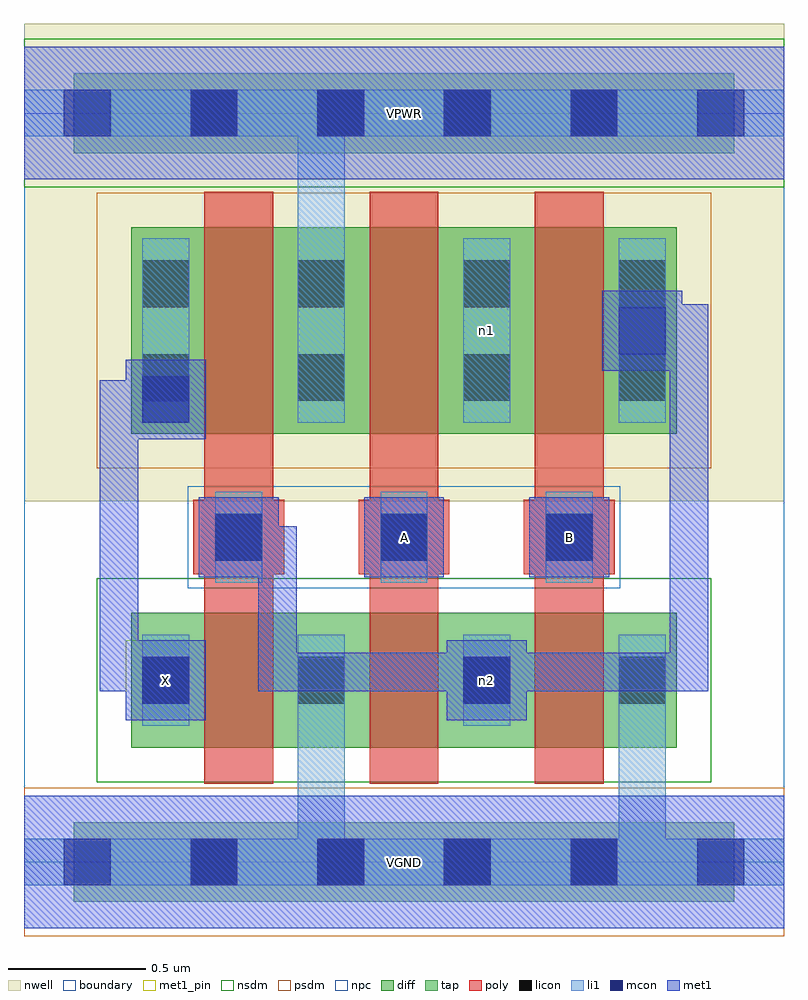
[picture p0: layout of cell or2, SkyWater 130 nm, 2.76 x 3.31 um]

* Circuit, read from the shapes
.subckt or2 A B VGND VPWR X n1 n2
XM1 VGND n2 X VGND sky130_fd_pr__nfet_01v8 w=0.49 l=0.25
XM2 n2 A VGND VGND sky130_fd_pr__nfet_01v8 w=0.49 l=0.25
XM3 VGND B n2 VGND sky130_fd_pr__nfet_01v8 w=0.49 l=0.25
XM4 VPWR n2 X VPWR sky130_fd_pr__pfet_01v8 w=0.75 l=0.25
XM5 n1 A VPWR VPWR sky130_fd_pr__pfet_01v8 w=0.75 l=0.25
XM6 n2 B n1 VPWR sky130_fd_pr__pfet_01v8 w=0.75 l=0.25
.ends

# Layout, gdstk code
import gdstk
lib = gdstk.Library(unit=1e-6, precision=1e-09)
def R(c, l, rs):  # rectangles x0, y0, x1, y1
    for r in rs: c.add(gdstk.rectangle(r[:2], r[2:], *l))
def A(c, l, x, y, w, h, nx, ny, dx, dy):  # array of equal rectangles
    R(c, l, [(x+i*dx, y+j*dy, x+i*dx+w, y+j*dy+h) for i in range(nx) for j in range(ny)])
nwell = (64, 20)
diff = (65, 20)
tap = (65, 44)
poly = (66, 20)
licon = (66, 44)
li1 = (67, 20)
mcon = (67, 44)
met1_pin = (68, 16)
met1 = (68, 20)
nsdm = (93, 44)
psdm = (94, 20)
npc = (95, 20)
boundary = (235, 4)

or2 = lib.new_cell('or2')
R(or2, nwell, [(0,1.31,2.76,3.045)])
R(or2, diff, [(0.39,0.415,2.37,0.905), (0.39,1.555,2.37,2.305)])
R(or2, tap, [(0.18,-0.145,2.58,0.145), (0.18,2.575,2.58,2.865)])
A(or2, poly, 0.655, 0.285, 0.25, 2.15, 3, 1, 0.6, 0)
A(or2, poly, 0.615, 1.045, 0.33, 0.27, 3, 1, 0.6, 0)
A(or2, licon, 0.605, -0.085, 0.17, 0.17, 4, 2, 0.46, 2.72)
A(or2, licon, 0.695, 1.095, 0.17, 0.17, 3, 1, 0.6, 0)
R(or2, licon, [(0.43,0.575,0.6,0.745), (0.995,0.575,1.165,0.745), (1.595,0.575,1.765,0.745), (2.16,0.575,2.33,0.745), (0.43,1.675,0.6,1.845), (0.995,1.675,1.165,1.845), (1.595,1.675,1.765,1.845), (2.16,1.675,2.33,1.845), (0.43,2.015,0.6,2.185), (0.995,2.015,1.165,2.185), (1.595,2.015,1.765,2.185), (2.16,2.015,2.33,2.185)])
A(or2, li1, 0.695, 1.015, 0.17, 0.33, 3, 1, 0.6, 0)
R(or2, li1, [(0,-0.085,2.76,0.085), (0.995,-0.085,1.165,0.825), (2.16,-0.085,2.33,0.825), (0.43,0.495,0.6,0.825), (0.995,0.495,1.165,0.825), (1.595,0.495,1.765,0.825), (2.16,0.495,2.33,0.825), (0.43,1.595,0.6,2.265), (0.995,1.595,1.165,2.265), (0.995,1.595,1.165,2.805), (1.595,1.595,1.765,2.265), (2.16,1.595,2.33,2.265), (0,2.635,2.76,2.805)])
A(or2, mcon, 0.145, -0.085, 0.17, 0.17, 6, 2, 0.46, 2.72)
A(or2, mcon, 0.695, 1.095, 0.17, 0.17, 3, 1, 0.6, 0)
R(or2, mcon, [(0.43,0.575,0.6,0.745), (1.595,0.575,1.765,0.745), (0.43,1.595,0.6,1.765), (2.16,1.845,2.33,2.015)])
R(or2, met1_pin, [(0,-0.24,2.76,0.24), (0.37,0.515,0.66,0.805), (1.235,1.035,1.525,1.325), (1.835,1.035,2.125,1.325), (0,2.48,2.76,2.96)])
A(or2, met1, 0.635, 1.035, 0.29, 0.29, 3, 1, 0.6, 0)
R(or2, met1, [(0,-0.24,2.76,0.24), (0.37,0.515,0.66,0.805), (1.535,0.515,1.825,0.805), (0.275,0.62,0.53,0.76), (0.275,0.62,0.415,1.565), (0.39,0.62,0.53,0.76), (0.85,0.62,0.99,1.22), (0.85,0.62,1.68,0.76), (1.54,0.62,1.68,0.76), (1.54,0.62,2.485,0.76), (2.345,0.62,2.485,2.025), (0.735,1.08,0.875,1.22), (0.735,1.08,0.99,1.22), (0.275,1.425,0.415,1.75), (0.37,1.535,0.66,1.825), (0.275,1.61,0.585,1.75), (2.1,1.785,2.39,2.075), (2.23,1.885,2.37,2.025), (2.23,1.885,2.485,2.025), (0,2.48,2.76,2.96)])
R(or2, nsdm, [(0.265,0.29,2.495,1.03), (0,2.45,2.76,2.99)])
R(or2, psdm, [(0,-0.27,2.76,0.27), (0.265,1.43,2.495,2.43)])
R(or2, npc, [(0.595,0.995,2.165,1.365)])
R(or2, boundary, [(0,0,2.76,2.72)])
or2.add(gdstk.Label('n2', (1.68,0.66), layer=67, texttype=5))
or2.add(gdstk.Label('n1', (1.68,1.93), layer=67, texttype=5))
or2.add(gdstk.Label('A', (1.38,1.18), layer=68, texttype=5))
or2.add(gdstk.Label('B', (1.98,1.18), layer=68, texttype=5))
or2.add(gdstk.Label('X', (0.515,0.66), layer=68, texttype=5))
or2.add(gdstk.Label('VPWR', (1.38,2.72), layer=68, texttype=5))
or2.add(gdstk.Label('VGND', (1.38,0), layer=68, texttype=5))
or2.add(gdstk.Label('A', (1.38,1.18), layer=68, texttype=16))
or2.add(gdstk.Label('B', (1.98,1.18), layer=68, texttype=16))
or2.add(gdstk.Label('X', (0.515,0.66), layer=68, texttype=16))
or2.add(gdstk.Label('VPWR', (1.38,2.72), layer=68, texttype=16))
or2.add(gdstk.Label('VGND', (1.38,0), layer=68, texttype=16))

lib.write_gds('or2.gds')
